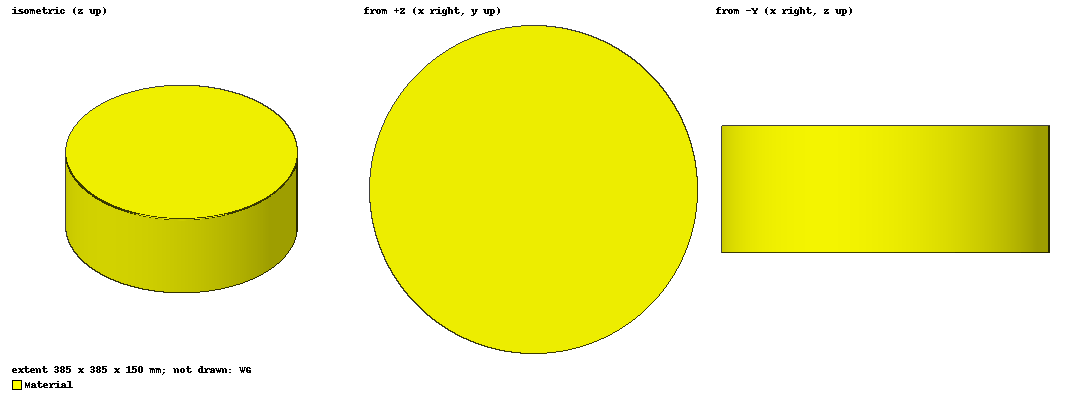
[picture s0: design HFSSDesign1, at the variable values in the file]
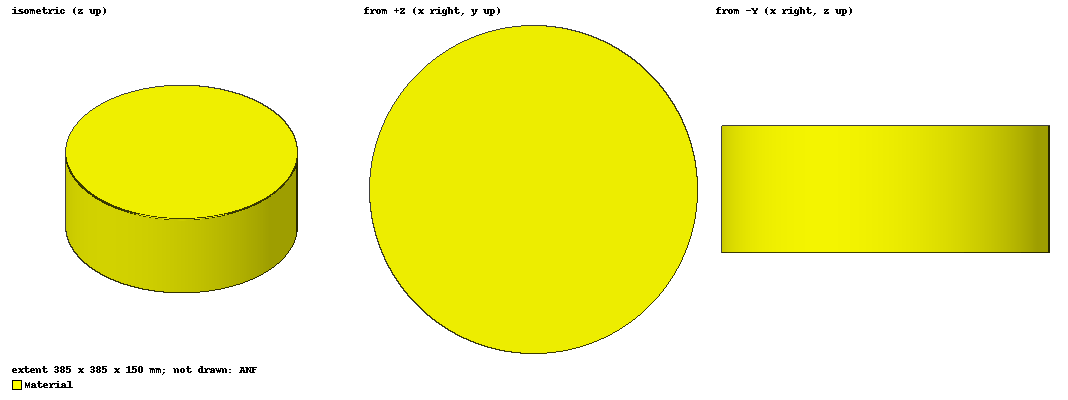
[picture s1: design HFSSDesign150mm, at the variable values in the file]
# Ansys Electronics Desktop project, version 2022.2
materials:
  vacuum: permittivity=1
  Dryer_mix: permittivity=65 dielectric_loss_tangent=0.3 delta_H_freq=2450000000
  steel_stainless: conductivity=1100000
  air: permittivity=1.0006 permeability=1.0000004
  water_fresh: permittivity=81 permeability=0.999991 conductivity=0.01
  TPA: permittivity=4 permeability=1 delta_H_freq=2.45g

design HFSSDesign1 (HFSS, DrivenModal, model units mm)
options: Allow_Material_Override
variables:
  WG_h = 54mm
  WG_w = 94mm
  WG_l = 100mm
  Cavity_D = 385mm
  Cavity_H = 400mm
  Material_R = Cavity_D/2
  Material_H = 150mm
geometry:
  ANF = cylinder(axis=Z, base_centre=(0mm, 0mm, 0mm), radius=Cavity_D/2, height=Cavity_H)
  coordinate_system RelativeCS1 = origin=(0mm, 0mm, Cavity_H) x=(1mm, 0mm, 0mm) y=(0mm, 1mm, 0mm)
  WG [air] = box(corner=(-0.5*WG_h, -0.5*WG_w, 0), size=(WG_h, WG_w, WG_l)) in RelativeCS1
  Material [TPA] = cylinder(axis=Z, base_centre=(0mm, 0mm, 0mm), radius=Material_R, height=Material_H)
  WG.unite(ANF)
  Material_1 = Material.copy()
  WG.subtract(Material_1)
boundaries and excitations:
  1: Wave Port Faces=WG.face(1 of 6) NumModes=1 Modes{Mode1{IntLine{(27, 0, 500) -> (-27, 0, 500)} CharImp=Zpi}}
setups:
  Setup1: HfssDriven Frequency=2.45GHz MaxDeltaS=0.02 MaximumPasses=10 MinimumPasses=1 MinimumConvergedPasses=1 PercentRefinement=30 BasisOrder=-1 PortAccuracy=2 DrivenSolverType="Direct Solver"
    sweep Sweep: 1GHz to 5GHz, 1024 points; Type=Interpolating InterpTolerance=0.5 InterpMaxSolns=250 InterpUsePortImped=false PassivityErrorTolerance=0.0001
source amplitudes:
  1:1: 1W 0deg
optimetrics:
  ParametricSetup1: Parametric Sim._Setups=[Setup1]
    sweep Material_H: LINC 10mm 300mm 3
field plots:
  Mesh1: MeshPlots in Material, WG on Setup1 : LastAdaptive at Freq=2.45GHz Phase=0deg
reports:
  S Parameter Plot 1: dB(S(1,1)) vs Freq on Setup1 : Sweep [Material_H=all]
  S Parameter Plot 2: dB(S(1,1)) vs Freq on Setup1 : LastAdaptive [Material_H=all]
  Z Parameter Plot 1: mag(Z(1,1)) vs Freq on Setup1 : Sweep [Material_H=all]

design HFSSDesign150mm (HFSS, Eigenmode, model units mm)
options: Allow_Material_Override
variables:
  WG_h = 54mm
  WG_w = 94mm
  WG_l = 100mm
  Cavity_D = 385mm
  Cavity_H = 400mm
  Material_R = Cavity_D/2
  Material_H = 150mm
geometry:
  ANF [air] = cylinder(axis=Z, base_centre=(0mm, 0mm, 0mm), radius=Cavity_D/2, height=Cavity_H)
  coordinate_system RelativeCS1 = origin=(0mm, 0mm, Cavity_H) x=(1mm, 0mm, 0mm) y=(0mm, 1mm, 0mm)
  Material [TPA] = cylinder(axis=Z, base_centre=(0mm, 0mm, 0mm), radius=Material_R, height=Material_H)
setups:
  Setup1: HfssEigen MinimumFrequency=2GHz NumModes=20 MaxDeltaFreq=10 ConvergeOnRealFreq=true MaximumPasses=10 MinimumPasses=1 MinimumConvergedPasses=1 PercentRefinement=30 BasisOrder=1
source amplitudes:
  #-10:1: 1 0deg
  #-10:2..#-10:20: 0 0deg
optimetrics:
  ParametricSetup1: Parametric
    sweep Material_H: LINC 1mm 300mm 4
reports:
  Eigen Modes Plot 1: re(Mode(1)), re(Mode(2)), re(Mode(3)), re(Mode(4)), re(Mode(5)), re(Mode(6)), re(Mode(7)), re(Mode(8)), re(Mode(9)), re(Mode(10)), re(Mode(11)), re(Mode(12)), re(Mode(13)), re(Mode(14)), re(Mode(15)), re(Mode(16)), re(Mode(17)), re(Mode(18)), re(Mode(19)), re(Mode(20)) vs WG_h on Setup1 : LastAdaptive [Material_H=all]
